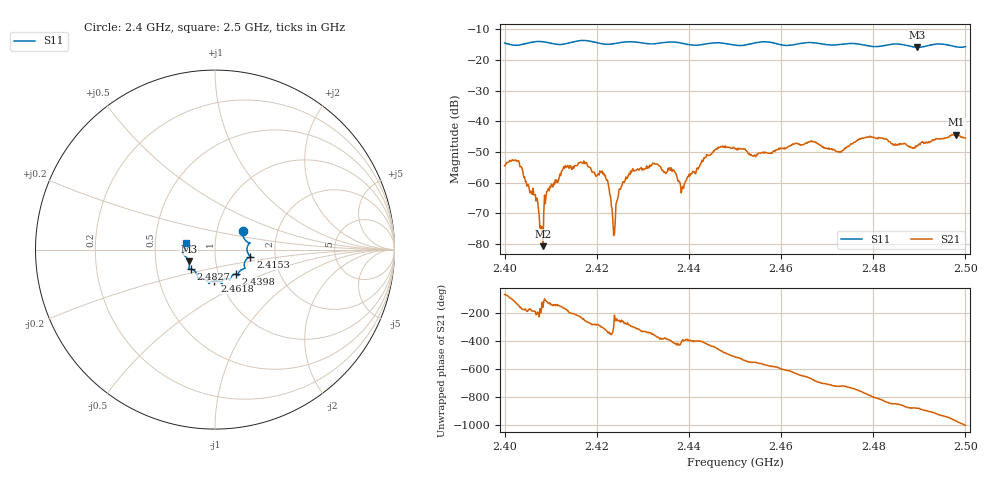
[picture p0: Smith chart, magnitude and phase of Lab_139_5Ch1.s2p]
# Hz S RI R 50
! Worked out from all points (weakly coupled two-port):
!   601 points, 2.4 GHz to 2.5 GHz, reference 50 ohm
!   highest |S21| = -44.39 dB at 2.498 GHz (marker M1); lowest = -80.7 dB at 2.4083 GHz (marker M2)
!   lowest |S11| = -15.9 dB at 2.4895 GHz (marker M3), VSWR 1.38, Z = 37 - j4.99 ohm
!   |S11| at or under -10 dB: start of sweep to end of sweep
!   S12 and S22 are empty: the file has one direction only
!   S11 on the Smith chart (normalised r, x): 2.4 GHz: 1.33, +0.29; 2.4153 GHz: 1.48, -0.12; 2.4398 GHz: 1.21, -0.34; 2.4618 GHz: 0.94, -0.33; 2.4827 GHz: 0.75, -0.17; 2.5 GHz: 0.72, +0.06
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2.4e9  0.1551 0.1064  0.000781 -0.00171  0 0  0 0
2.403167e9  0.1655 0.0568  -0.00181 -0.00118  0 0  0 0
2.407833e9  0.1955 0.0382  -0.000188 5.82e-05  0 0  0 0
2.408333e9  0.1943 0.0373  -8.43e-05 -3.65e-05  0 0  0 0
2.409667e9  0.1875 0.0301  -0.000469 -0.000568  0 0  0 0
2.415333e9  0.1968 -0.039  -0.00165 0.000914  0 0  0 0
2.416667e9  0.2027 -0.0431  -0.00132 0.00165  0 0  0 0
2.421833e9  0.1688 -0.0624  0.000973 0.000883  0 0  0 0
2.423667e9  0.1628 -0.0846  6.76e-05 0.00012  0 0  0 0
2.425167e9  0.1651 -0.098  -8.83e-05 0.000775  0 0  0 0
2.427333e9  0.1683 -0.1041  0.000536 0.00145  0 0  0 0
2.433333e9  0.1299 -0.134  0.00189 -0.000401  0 0  0 0
2.4385e9  0.1259 -0.1384  0.000639 -0.00048  0 0  0 0
2.439833e9  0.1153 -0.1359  0.000995 -0.000736  0 0  0 0
2.45e9  0.065 -0.1618  -0.00319 -0.00154  0 0  0 0
2.461833e9  -0.00295 -0.1727  -0.00116 0.00377  0 0  0 0
2.466667e9  -0.0346 -0.1884  0.00328 0.00342  0 0  0 0
2.482667e9  -0.1349 -0.1089  -0.00218 -0.00467  0 0  0 0
2.483333e9  -0.1401 -0.1084  -0.00259 -0.00391  0 0  0 0
2.4895e9  -0.1462 -0.0658  -0.0038 -0.00127  0 0  0 0
2.498e9  -0.1634 0.00514  -0.00158 0.00582  0 0  0 0
2.5e9  -0.1593 0.0388  0.00149 0.00513  0 0  0 0
